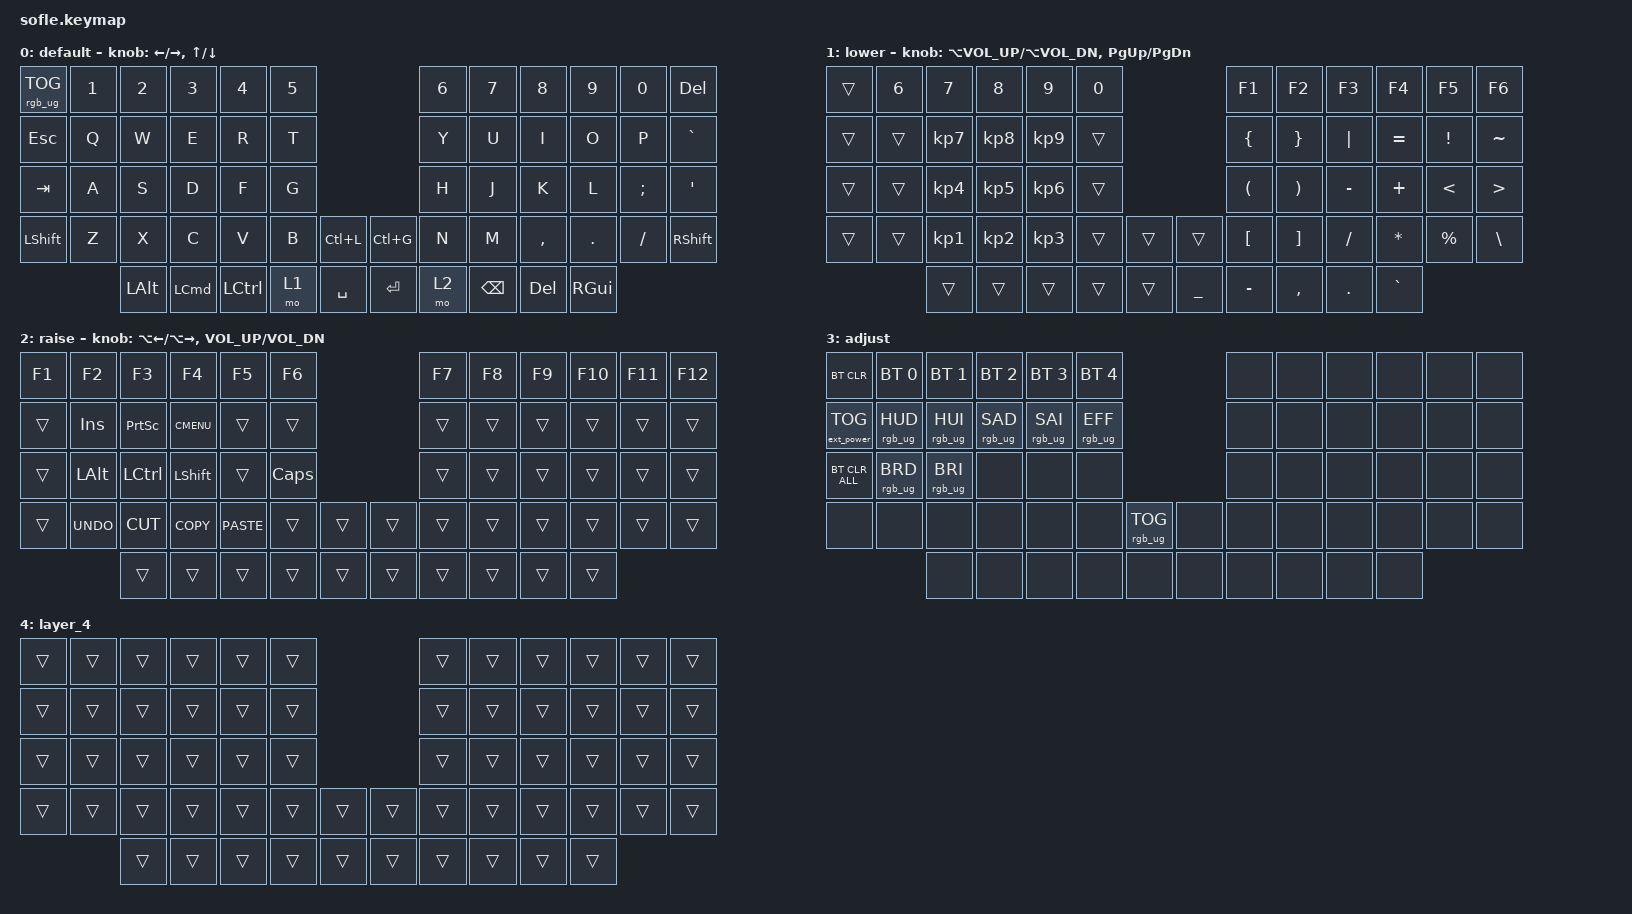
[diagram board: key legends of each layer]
/*
 * Copyright (c) 2020 The ZMK Contributors
 *
 * SPDX-License-Identifier: MIT
 */

#include <behaviors.dtsi>
#include <dt-bindings/zmk/bt.h>
#include <dt-bindings/zmk/ext_power.h>
#include <dt-bindings/zmk/keys.h>
#include <dt-bindings/zmk/rgb.h>

#define BASE 0
#define LOWER 1
#define RAISE 2
#define ADJUST 3

/ {
    // Activate ADJUST layer by pressing raise and lower

    conditional_layers {
        compatible = "zmk,conditional-layers";

        adjust_layer {
            if-layers = <1 2>;
            then-layer = <3>;
        };
    };

    keymap {
        compatible = "zmk,keymap";

        default_layer {
            label = "default";

            // ------------------------------------------------------------------------------------------------------------
            // |   `   |  1  |  2  |  3   |  4   |  5   |                   |  6   |  7    |  8    |  9   |   0   |       |
            // |  ESC  |  Q  |  W  |  E   |  R   |  T   |                   |  Y   |  U    |  I    |  O   |   P   | BKSPC |
            // |  TAB  |  A  |  S  |  D   |  F   |  G   |                   |  H   |  J    |  K    |  L   |   ;   |   '   |
            // | SHIFT |  Z  |  X  |  C   |  V   |  B   |  MUTE  |  |       |  N   |  M    |  ,    |  .   |   /   | SHIFT |
            //               | GUI | ALT  | CTRL | LOWER|  ENTER |  | SPACE | RAISE| CTRL  | ALT   | GUI  |

            bindings = <
&rgb_ug RGB_TOG  &kp N1  &kp N2        &kp N3            &kp N4     &kp N5                          &kp N6  &kp N7         &kp N8      &kp N9    &kp N0    &kp DELETE
&kp ESC          &kp Q   &kp W         &kp E             &kp R      &kp T                           &kp Y   &kp U          &kp I       &kp O     &kp P     &kp GRAVE
&kp TAB          &kp A   &kp S         &kp D             &kp F      &kp G                           &kp H   &kp J          &kp K       &kp L     &kp SEMI  &kp SQT
&kp LSHFT        &kp Z   &kp X         &kp C             &kp V      &kp B   &kp LC(L)    &kp LC(G)  &kp N   &kp M          &kp COMMA   &kp DOT   &kp FSLH  &kp RSHFT
                         &kp LEFT_ALT  &kp LEFT_COMMAND  &kp LCTRL  &mo 1   &kp SPACE    &kp ENTER  &mo 2   &kp BACKSPACE  &kp DELETE  &kp RGUI
            >;

            sensor-bindings =
                <&inc_dec_kp LEFT RIGHT>,
                <&inc_dec_kp UP_ARROW DOWN>;
        };

        lower_layer {
            label = "lower";

            // TODO: Some binds are waiting for shifted keycode support.
            // ------------------------------------------------------------------------------------------------------------
            // |       |  F1 |  F2 |  F3  |  F4  |  F5  |                   |  F6  |  F7   |  F8   |  F9  |  F10  |  F11  |
            // |   `   |  1  |  2  |  3   |  4   |  5   |                   |  6   |  7    |  8    |  9   |   0   |  F12  |
            // |       |  !  |  @  |  #   |  $   |  %   |                   |  ^   |  &    |  *    |  (   |   )   |   |   |
            // |       |  =  |  -  |  +   |  {   |  }   |        |  |       |  [   |  ]    |  ;    |  :   |   \   |       |
            //               |     |      |      |      |        |  |       |      |       |       |      |

            bindings = <
&trans  &kp NUMBER_6  &kp N7           &kp NUMBER_8     &kp N9           &kp N0                            &kp F1                &kp F2                 &kp F3      &kp F4        &kp F5           &kp F6
&trans  &trans        &kp KP_NUMBER_7  &kp KP_NUMBER_8  &kp KP_NUMBER_9  &trans                            &kp LEFT_BRACE        &kp RIGHT_BRACE        &kp PIPE    &kp EQUAL     &kp EXCLAMATION  &kp TILDE
&trans  &trans        &kp KP_NUMBER_4  &kp KP_NUMBER_5  &kp KP_NUMBER_6  &trans                            &kp LEFT_PARENTHESIS  &kp RIGHT_PARENTHESIS  &kp MINUS   &kp PLUS      &kp LESS_THAN    &kp GREATER_THAN
&trans  &trans        &kp KP_NUMBER_1  &kp KP_NUMBER_2  &kp KP_NUMBER_3  &trans  &trans    &trans          &kp LBKT              &kp RBKT               &kp SLASH   &kp ASTERISK  &kp PERCENT      &kp BACKSLASH
                      &trans           &trans           &trans           &trans  &trans    &kp UNDERSCORE  &kp MINUS             &kp COMMA              &kp PERIOD  &kp GRAVE
            >;

            sensor-bindings =
                <&inc_dec_kp LA(C_VOL_UP) LA(C_VOL_DN)>,
                <&inc_dec_kp PG_UP PG_DN>;
        };

        raise_layer {
            label = "raise";

            // ------------------------------------------------------------------------------------------------------------
            // | BTCLR | BT1  | BT2  |  BT3  |  BT4  |  BT5 |                |      |      |       |      |       |       |
            // |       | INS  | PSCR | GUI   |       |      |                | PGUP |      |   ^   |      |       |       |
            // |       | ALT  | CTRL | SHIFT |       | CAPS |                | PGDN |   <- |   v   |  ->  |  DEL  | BKSPC |
            // |       | UNDO | CUT  | COPY  | PASTE |      |      |  |      |      |      |       |      |       |       |
            //                |      |       |       |      |      |  |      |      |      |       |      |

            bindings = <
&kp F1  &kp F2      &kp F3     &kp F4       &kp F5       &kp F6                      &kp F7  &kp F8  &kp F9  &kp F10  &kp F11  &kp F12
&trans  &kp INS     &kp PSCRN  &kp K_CMENU  &trans       &trans                      &trans  &trans  &trans  &trans   &trans   &trans
&trans  &kp LALT    &kp LCTRL  &kp LSHFT    &trans       &kp CLCK                    &trans  &trans  &trans  &trans   &trans   &trans
&trans  &kp K_UNDO  &kp K_CUT  &kp K_COPY   &kp K_PASTE  &trans    &trans    &trans  &trans  &trans  &trans  &trans   &trans   &trans
                    &trans     &trans       &trans       &trans    &trans    &trans  &trans  &trans  &trans  &trans
            >;

            sensor-bindings =
                <&inc_dec_kp LA(LEFT_ARROW) LA(RIGHT)>,
                <&inc_dec_kp C_VOL_UP C_VOL_DN>;
        };

        adjust_layer {
            // ----------------------------------------------------------------------------------------------------------------------------
            // | BTCLR  |  BT1    |  BT2    |   BT3   |   BT4   |   BT5   |                  |      |      |       |      |       |       |
            // | EXTPWR | RGB_HUD | RGB_HUI | RGB_SAD | RGB_SAI | RGB_EFF |                  |      |      |       |      |       |       |
            // |        | RGB_BRD | RGB_BRI |         |         |         |                  |      |      |       |      |       |       |
            // |        |         |         |         |         |         | RGB_TOG | |      |      |      |       |      |       |       |
            //                    |         |         |         |         |         | |      |      |      |       |      |

            label = "adjust";
            bindings = <
&bt BT_CLR         &bt BT_SEL 0     &bt BT_SEL 1     &bt BT_SEL 2     &bt BT_SEL 3     &bt BT_SEL 4                               &none  &none  &none  &none  &none  &none
&ext_power EP_TOG  &rgb_ug RGB_HUD  &rgb_ug RGB_HUI  &rgb_ug RGB_SAD  &rgb_ug RGB_SAI  &rgb_ug RGB_EFF                            &none  &none  &none  &none  &none  &none
&bt BT_CLR_ALL     &rgb_ug RGB_BRD  &rgb_ug RGB_BRI  &none            &none            &none                                      &none  &none  &none  &none  &none  &none
&none              &none            &none            &none            &none            &none            &rgb_ug RGB_TOG    &none  &none  &none  &none  &none  &none  &none
                                    &none            &none            &none            &none            &none              &none  &none  &none  &none  &none
            >;
        };

        layer_4 {
            bindings = <
&trans  &trans  &trans  &trans  &trans  &trans                    &trans  &trans  &trans  &trans  &trans  &trans
&trans  &trans  &trans  &trans  &trans  &trans                    &trans  &trans  &trans  &trans  &trans  &trans
&trans  &trans  &trans  &trans  &trans  &trans                    &trans  &trans  &trans  &trans  &trans  &trans
&trans  &trans  &trans  &trans  &trans  &trans  &trans    &trans  &trans  &trans  &trans  &trans  &trans  &trans
                &trans  &trans  &trans  &trans  &trans    &trans  &trans  &trans  &trans  &trans
            >;
        };
    };
};
